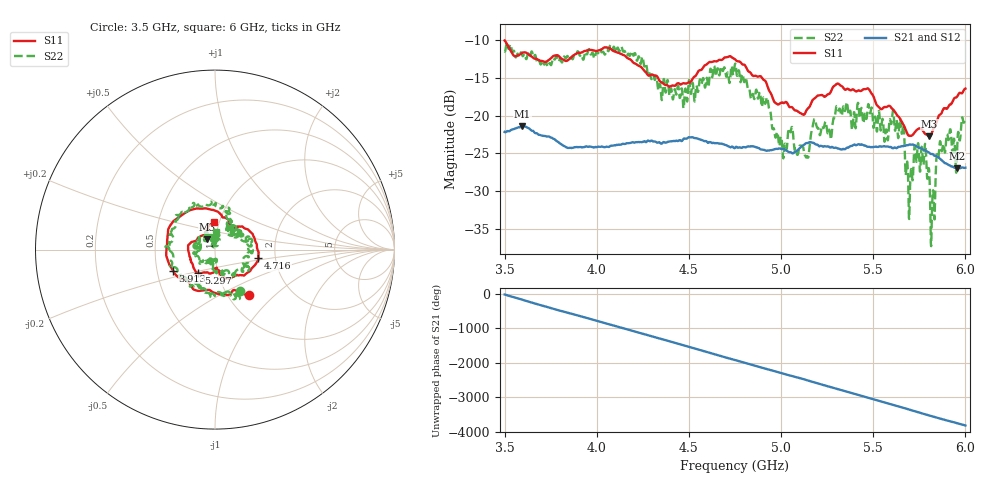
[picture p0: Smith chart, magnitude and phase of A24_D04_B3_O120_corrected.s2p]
! Created with skrf 1.9.0 (http://scikit-rf.org).
# Hz S RI R 50.0
!freq ReS11 ImS11 ReS21 ImS21 ReS12 ImS12 ReS22 ImS22
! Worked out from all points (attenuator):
!   1601 points, 3.5 GHz to 6 GHz, reference 50 ohm
!   highest |S21| = -21.41 dB at 3.595 GHz (marker M1); lowest = -27.0 dB at 5.955 GHz (marker M2)
!   lowest |S11| = -22.8 dB at 5.805 GHz (marker M3), VSWR 1.16, Z = 45.4 + j5.22 ohm
!   |S11| at or under -10 dB: start of sweep to end of sweep
!   |S22| runs from -37.3 to -10.3 dB; largest |S21 - S12| = 0.001
!   S11 on the Smith chart (normalised r, x): 3.5 GHz: 1.24, -0.70; 3.913 GHz: 0.61, -0.15; 4.716 GHz: 1.63, -0.16; 5.297 GHz: 0.80, -0.21; 6 GHz: 0.95, +0.29
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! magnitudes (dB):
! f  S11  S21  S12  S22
! 3.5 GHz  -10.0  -22.2  -22.1  -11.5
! 3.595 GHz  -11.7  -21.4  -21.4  -12.0
! 3.913 GHz  -11.7  -24.2  -24.1  -12.0
! 3.917 GHz  -11.6  -24.2  -24.2  -11.9
! 4.141 GHz  -11.9  -23.8  -23.7  -11.4
! 4.334 GHz  -15.1  -23.5  -23.5  -16.7
! 4.716 GHz  -12.2  -24.1  -24.1  -15.0
! 4.75 GHz  -12.5  -24.3  -24.2  -13.2
! 5.019 GHz  -18.3  -24.5  -24.4  -23.9
! 5.052 GHz  -18.9  -24.9  -24.8  -22.2
! 5.139 GHz  -19.2  -23.6  -23.5  -25.5
! 5.167 GHz  -18.1  -23.6  -23.5  -22.0
! 5.297 GHz  -15.9  -24.3  -24.2  -19.2
! 5.584 GHz  -18.7  -24.1  -24.1  -21.6
! 5.655 GHz  -20.8  -24.1  -24.0  -22.4
! 5.702 GHz  -22.7  -23.8  -23.8  -28.1
! 5.773 GHz  -22.2  -24.5  -24.5  -26.4
! 5.805 GHz  -22.8  -24.9  -24.9  -27.9
! 5.823 GHz  -21.9  -25.1  -25.1  -30.0
! 5.87 GHz  -19.7  -25.9  -25.8  -24.6
! 5.955 GHz  -17.5  -27.0  -26.9  -25.0
! 6 GHz  -16.4  -26.9  -26.8  -20.3
